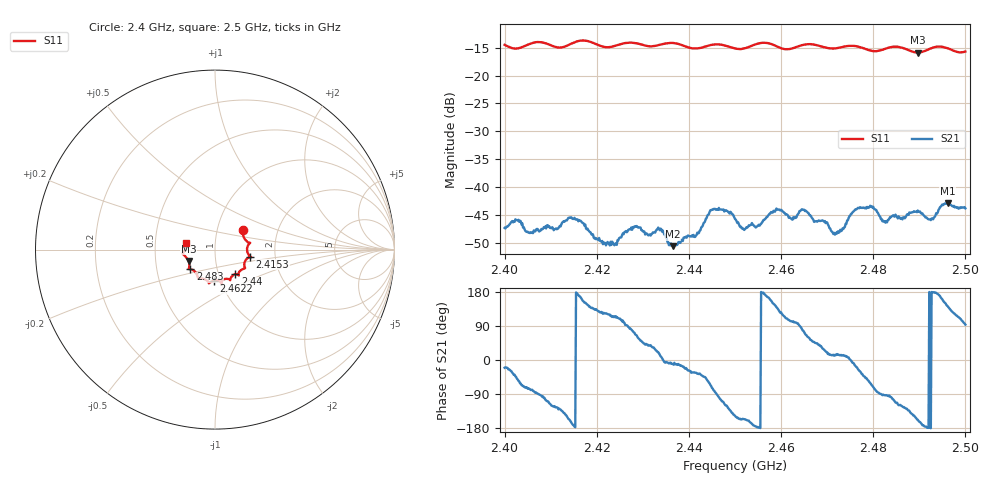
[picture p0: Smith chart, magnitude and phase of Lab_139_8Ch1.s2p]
# Hz S RI R 50
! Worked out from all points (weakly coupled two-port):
!   601 points, 2.4 GHz to 2.5 GHz, reference 50 ohm
!   highest |S21| = -42.84 dB at 2.4962 GHz (marker M1); lowest = -50.6 dB at 2.4365 GHz (marker M2)
!   lowest |S11| = -15.9 dB at 2.4897 GHz (marker M3), VSWR 1.38, Z = 36.9 - j4.81 ohm
!   |S11| at or under -10 dB: start of sweep to end of sweep
!   S12 and S22 are empty: the file has one direction only
!   S11 on the Smith chart (normalised r, x): 2.4 GHz: 1.33, +0.29; 2.4153 GHz: 1.48, -0.12; 2.44 GHz: 1.20, -0.34; 2.4622 GHz: 0.93, -0.33; 2.483 GHz: 0.74, -0.17; 2.5 GHz: 0.72, +0.06
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2.4e9  0.1553 0.1068  0.00403 -0.0015  0 0  0 0
2.415333e9  0.196 -0.0384  -0.00513 -0.000217  0 0  0 0
2.416667e9  0.2018 -0.0424  -0.00465 0.00148  0 0  0 0
2.422333e9  0.1661 -0.0682  -0.00168 0.00274  0 0  0 0
2.428333e9  0.1656 -0.1043  0.00168 0.00412  0 0  0 0
2.433333e9  0.131 -0.1335  0.00404 0.00154  0 0  0 0
2.4365e9  0.1327 -0.1444  0.0029 -0.000549  0 0  0 0
2.44e9  0.1141 -0.1368  0.00323 -0.00168  0 0  0 0
2.445167e9  0.0846 -0.1693  0.00154 -0.00606  0 0  0 0
2.45e9  0.0644 -0.1628  -0.00435 -0.00279  0 0  0 0
2.452e9  0.044 -0.1691  -0.00376 -0.00167  0 0  0 0
2.459333e9  0.0278 -0.1783  -0.00438 0.00447  0 0  0 0
2.462167e9  -0.00736 -0.1738  -0.00114 0.0051  0 0  0 0
2.466667e9  -0.0342 -0.1877  0.00333 0.00412  0 0  0 0
2.471667e9  -0.0661 -0.1621  0.00364 0.000871  0 0  0 0
2.477e9  -0.096 -0.1531  0.00566 -0.00312  0 0  0 0
2.483e9  -0.1375 -0.1097  -0.000319 -0.00482  0 0  0 0
2.483333e9  -0.1401 -0.1093  -0.000499 -0.00506  0 0  0 0
2.489667e9  -0.1476 -0.0636  -0.0057 -0.00235  0 0  0 0
2.4925e9  -0.1724 -0.0307  -0.00505 -2.87e-06  0 0  0 0
2.496167e9  -0.175 -0.0139  -0.00567 0.00445  0 0  0 0
2.5e9  -0.1594 0.0394  -0.000378 0.00643  0 0  0 0
